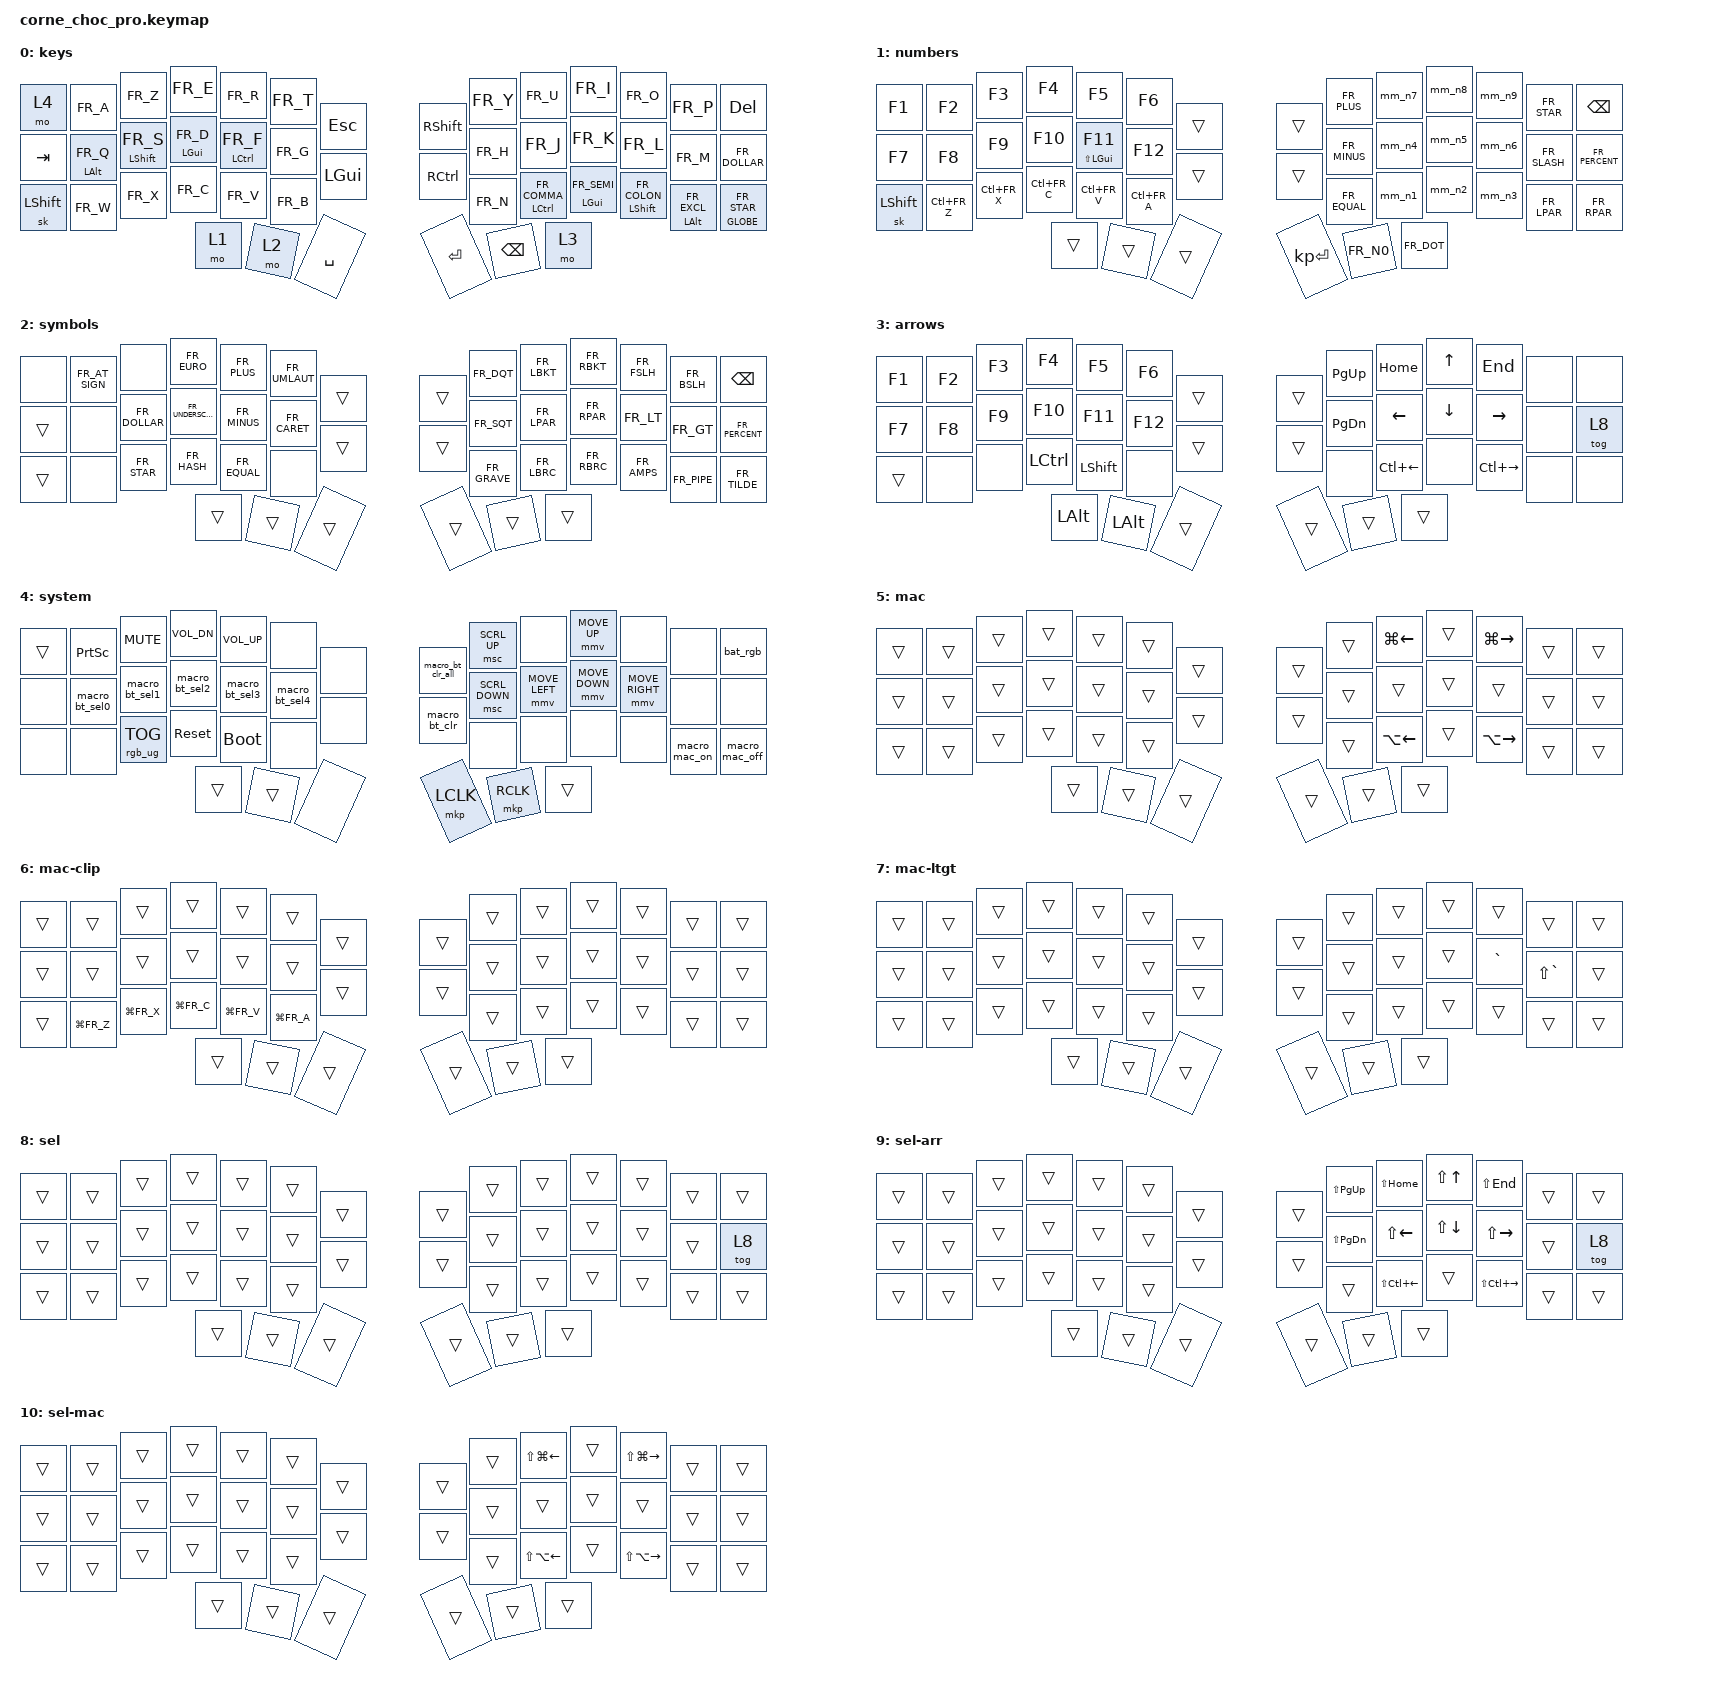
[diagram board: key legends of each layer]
/*
 * Copyright (c) 2020 The ZMK Contributors
 *
 * SPDX-License-Identifier: MIT
 */

#include "keys_fr.h"

#define ZMK_POINTING_DEFAULT_MOVE_VAL 1500
#define ZMK_POINTING_DEFAULT_SCRL_VAL 20

#define HUE_RED      0
#define HUE_YELLOW  60
#define HUE_GREEN  120
#define HUE_CYAN   200
#define HUE_BLUE   240
#define HUE_PURPLE 270
#define HUE_MAGENTA 300

#define MM_MODS (MOD_LGUI|MOD_RGUI|MOD_LALT|MOD_RALT|MOD_LCTL|MOD_RCTL)

#include <behaviors.dtsi>
#include <dt-bindings/zmk/bt.h>
#include <dt-bindings/zmk/keys.h>
#include <dt-bindings/zmk/pointing.h>
#include <dt-bindings/zmk/rgb.h>

&mt {
    flavor = "tap-preferred";
    tapping-term-ms = <190>;
    quick-tap-ms = <150>;
    require-prior-idle-ms = <150>;
};

/ {
    combos {
        compatible = "zmk,combos";

        combo_esc-with-gh {
            bindings = <&kp ESC>;
            key-positions = <19 22>;
            layers = <0 5 8 9 10>;
            timeout-ms = <80>;
            require-prior-idle-ms = <150>;
        };

        /* AZERTY accent combos — layers 0-4 (normal) + 5 (mac base) + 6 (mac symbols) */
        combo_e_grave {
            bindings = <&kp FR_E_GRAVE>;
            key-positions = <3 23>;
            layers = <0 1 2 3 4 5 6 8 9 10>;
            timeout-ms = <80>;
        };

        combo_e_aigu {
            bindings = <&kp FR_E_ACUTE>;
            key-positions = <3 25>;
            layers = <0 1 2 3 4 5 6 8 9 10>;
            timeout-ms = <80>;
        };

        combo_e_circonflex {
            bindings = <&macro_e_circonflex>;
            key-positions = <3 24>;
            layers = <0 1 2 3 4 5 6 8 9 10>;
            timeout-ms = <80>;
        };

        combo_a_grave {
            bindings = <&kp FR_A_GRAVE>;
            key-positions = <1 23>;
            layers = <0 1 2 3 4 5 6 8 9 10>;
            timeout-ms = <80>;
        };

        combo_a_circonflex {
            bindings = <&macro_a_circonflex>;
            key-positions = <1 24>;
            layers = <0 1 2 3 4 5 6 8 9 10>;
            timeout-ms = <80>;
        };

        combo_c_cedille {
            bindings = <&kp FR_C_CEDILLA>;
            key-positions = <31 24>;
            layers = <0 1 2 3 4 5 6 8 9 10>;
            timeout-ms = <80>;
        };

        combo_u_grave {
            bindings = <&kp FR_U_GRAVE>;
            key-positions = <9 18>;
            layers = <0 1 2 3 4 5 6 8 9 10>;
            timeout-ms = <80>;
        };

        /* AZERTY symbol combos — layers 0-6 */
        combo_left_parenthesis {
            bindings = <&kp FR_LEFT_PARENTHESIS>;
            key-positions = <18 17>;
            layers = <0 1 2 3 4 5 6 8 9 10>;
            require-prior-idle-ms = <150>;
        };

        combo_right_parenthesis {
            bindings = <&kp FR_RIGHT_PARENTHESIS>;
            key-positions = <23 24>;
            layers = <0 1 2 3 4 5 6 8 9 10>;
            require-prior-idle-ms = <150>;
        };

        combo_right_bracket {
            bindings = <&kp FR_RIGHT_BRACKET>;
            key-positions = <9 10>;
            layers = <0 1 2 3 4 5 6 8 9 10>;
            require-prior-idle-ms = <150>;
        };

        combo_left_bracket {
            bindings = <&kp FR_LEFT_BRACKET>;
            key-positions = <4 3>;
            layers = <0 1 2 3 4 5 6 8 9 10>;
            require-prior-idle-ms = <150>;
        };

        combo_left_brace {
            bindings = <&kp FR_LEFT_BRACE>;
            key-positions = <32 31>;
            layers = <0 1 2 3 4 5 6 8 9 10>;
            require-prior-idle-ms = <150>;
        };

        combo_right_brace {
            bindings = <&kp FR_RIGHT_BRACE>;
            key-positions = <35 36>;
            layers = <0 1 2 3 4 5 6 8 9 10>;
            require-prior-idle-ms = <150>;
        };

        /* Win/Linux AZERTY < > — only when mac_mode is OFF (highest layer ≤ 4) */
        combo_greater_than {
            bindings = <&kp FR_GREATER_THAN>;
            key-positions = <24 25>;
            layers = <0 1 2 3 4 8 9>;
            require-prior-idle-ms = <150>;
        };

        combo_less_than {
            bindings = <&kp FR_LESS_THAN>;
            key-positions = <17 16>;
            layers = <0 1 2 3 4 8 9>;
            require-prior-idle-ms = <150>;
        };

        /* macOS AZERTY < > — only when mac_mode is ON (layer 5 or 6 is highest) */
        combo_mac_less_than {
            bindings = <&kp GRAVE>;
            key-positions = <17 16>;
            layers = <5 6 10>;
            require-prior-idle-ms = <150>;
        };

        combo_mac_greater_than {
            bindings = <&kp LS(GRAVE)>;
            key-positions = <24 25>;
            layers = <5 6 10>;
            require-prior-idle-ms = <150>;
        };

        combo_backslash {
            bindings = <&kp FR_BACKSLASH>;
            key-positions = <10 11>;
            layers = <0 1 2 3 4 5 6 8 9 10>;
            require-prior-idle-ms = <150>;
        };

        combo_slash {
            bindings = <&kp FR_SLASH>;
            key-positions = <3 2>;
            layers = <0 1 2 3 4 5 6 8 9 10>;
            require-prior-idle-ms = <150>;
        };

        combo_question {
            bindings = <&kp FR_QUESTION>;
            key-positions = <16 35>;
            layers = <0 1 2 3 4 5 6 8 9 10>;
            require-prior-idle-ms = <150>;
        };
    };

    conditional_layers {
        compatible = "zmk,conditional-layers";
        sel_arrows_win {
            if-layers = <3 8>;
            then-layer = <9>;
        };
        sel_arrows_mac {
            if-layers = <3 5 8>;
            then-layer = <10>;
        };
        mac_numbers_overlay {
            if-layers = <1 5>;
            then-layer = <7>;
        };
        mac_symbols_overlay {
            if-layers = <2 5>;
            then-layer = <6>;
        };
    };

    behaviors {
        bat_rgb: bat_rgb {
            compatible = "zmk,behavior-bat-rgb";
            #binding-cells = <0>;
            /* must match the macro_bt_selN colors */
            profile-hues = <HUE_BLUE HUE_GREEN HUE_YELLOW HUE_MAGENTA HUE_CYAN>;
        };

        mode_rgb: mode_rgb {
            compatible = "zmk,behavior-mode-rgb";
            #binding-cells = <1>;
        };

        /* mod_morph for numbers 1–9 on the numbers layer.
           - Default tap: FR_Nx (LS-wrapped) → AZERTY digit, and LALT+FR_Nx → AeroSpace alt-shift-N ✓
           - With LGUI/RGUI held: plain Nx (no shift) → Hyprland SUPER+code:10–18 workspace switch ✓
           keep-mods preserves LGUI so it reaches the compositor. */
        mm_n1: mm_n1 { compatible = "zmk,behavior-mod-morph"; #binding-cells = <0>; bindings = <&kp FR_N1>, <&kp N1>; mods = <MM_MODS>; keep-mods = <MM_MODS>; };
        mm_n2: mm_n2 { compatible = "zmk,behavior-mod-morph"; #binding-cells = <0>; bindings = <&kp FR_N2>, <&kp N2>; mods = <MM_MODS>; keep-mods = <MM_MODS>; };
        mm_n3: mm_n3 { compatible = "zmk,behavior-mod-morph"; #binding-cells = <0>; bindings = <&kp FR_N3>, <&kp N3>; mods = <MM_MODS>; keep-mods = <MM_MODS>; };
        mm_n4: mm_n4 { compatible = "zmk,behavior-mod-morph"; #binding-cells = <0>; bindings = <&kp FR_N4>, <&kp N4>; mods = <MM_MODS>; keep-mods = <MM_MODS>; };
        mm_n5: mm_n5 { compatible = "zmk,behavior-mod-morph"; #binding-cells = <0>; bindings = <&kp FR_N5>, <&kp N5>; mods = <MM_MODS>; keep-mods = <MM_MODS>; };
        mm_n6: mm_n6 { compatible = "zmk,behavior-mod-morph"; #binding-cells = <0>; bindings = <&kp FR_N6>, <&kp N6>; mods = <MM_MODS>; keep-mods = <MM_MODS>; };
        mm_n7: mm_n7 { compatible = "zmk,behavior-mod-morph"; #binding-cells = <0>; bindings = <&kp FR_N7>, <&kp N7>; mods = <MM_MODS>; keep-mods = <MM_MODS>; };
        mm_n8: mm_n8 { compatible = "zmk,behavior-mod-morph"; #binding-cells = <0>; bindings = <&kp FR_N8>, <&kp N8>; mods = <MM_MODS>; keep-mods = <MM_MODS>; };
        mm_n9: mm_n9 { compatible = "zmk,behavior-mod-morph"; #binding-cells = <0>; bindings = <&kp FR_N9>, <&kp N9>; mods = <MM_MODS>; keep-mods = <MM_MODS>; };

    };

    macros {
        macro_e_circonflex: fr_e_circonflex {
            compatible = "zmk,behavior-macro";
            #binding-cells = <0>;
            bindings = <&kp FR_CARET &kp FR_E>;
        };

        macro_a_circonflex: fr_a_circonflex {
            compatible = "zmk,behavior-macro";
            #binding-cells = <0>;
            bindings = <&kp FR_CARET &kp FR_A>;
        };

        macro_mac_on: macro_mac_on {
            compatible = "zmk,behavior-macro";
            #binding-cells = <0>;
            bindings = <&mode_rgb HUE_RED>, <&to 5>;
        };

        macro_mac_off: macro_mac_off {
            compatible = "zmk,behavior-macro";
            #binding-cells = <0>;
            bindings = <&mode_rgb HUE_CYAN>, <&to 0>;
        };

        macro_bt_sel0: macro_bt_sel0 {
            compatible = "zmk,behavior-macro";
            #binding-cells = <0>;
            bindings = <&mode_rgb HUE_BLUE>, <&bt BT_SEL 0>;
        };

        macro_bt_sel1: macro_bt_sel1 {
            compatible = "zmk,behavior-macro";
            #binding-cells = <0>;
            bindings = <&mode_rgb HUE_GREEN>, <&bt BT_SEL 1>;
        };

        macro_bt_sel2: macro_bt_sel2 {
            compatible = "zmk,behavior-macro";
            #binding-cells = <0>;
            bindings = <&mode_rgb HUE_YELLOW>, <&bt BT_SEL 2>;
        };

        macro_bt_sel3: macro_bt_sel3 {
            compatible = "zmk,behavior-macro";
            #binding-cells = <0>;
            bindings = <&mode_rgb HUE_MAGENTA>, <&bt BT_SEL 3>;
        };

        macro_bt_sel4: macro_bt_sel4 {
            compatible = "zmk,behavior-macro";
            #binding-cells = <0>;
            bindings = <&mode_rgb HUE_CYAN>, <&bt BT_SEL 4>;
        };

        macro_bt_clr_all: macro_bt_clr_all {
            compatible = "zmk,behavior-macro";
            #binding-cells = <0>;
            bindings = <&mode_rgb HUE_RED>, <&bt BT_CLR_ALL>;
        };

        macro_bt_clr: macro_bt_clr {
            compatible = "zmk,behavior-macro";
            #binding-cells = <0>;
            bindings = <&mode_rgb HUE_RED>, <&bt BT_CLR>;
        };
    };

    keymap {
        compatible = "zmk,keymap";

        default_layer {
            display-name = "keys";
            bindings = <
&mo 4      &kp FR_A       &kp FR_Z         &kp FR_E       &kp FR_R        &kp FR_T   &kp ESC   &kp RSHIFT  &kp FR_Y  &kp FR_U            &kp FR_I          &kp FR_O             &kp FR_P          &kp DEL
&kp TAB    &mt LALT FR_Q  &mt LSHIFT FR_S  &mt LGUI FR_D  &mt LCTRL FR_F  &kp FR_G   &kp LGUI  &kp RCTRL   &kp FR_H  &kp FR_J            &kp FR_K          &kp FR_L             &kp FR_M          &kp FR_DOLLAR
&sk LSHFT  &kp FR_W       &kp FR_X         &kp FR_C       &kp FR_V        &kp FR_B                         &kp FR_N  &mt LCTRL FR_COMMA  &mt LGUI FR_SEMI  &mt LSHIFT FR_COLON  &mt LALT FR_EXCL  &mt GLOBE FR_STAR
                                           &mo 1          &mo 2           &kp SPACE                        &kp RET   &kp BSPC            &mo 3
            >;
        };

        numbers {
            display-name = "numbers";
            bindings = <
&kp F1  &kp F2  &kp F3  &kp F4   &kp F5            &kp F6   &trans  &trans  &kp FR_PLUS   &mm_n7          &mm_n8      &mm_n9     &kp FR_STAR   &kp BSPC
&kp F7  &kp F8  &kp F9  &kp F10  &mt LS(LGUI) F11  &kp F12  &trans  &trans  &kp FR_MINUS  &mm_n4          &mm_n5      &mm_n6     &kp FR_SLASH  &kp FR_PERCENT
&sk LSHIFT  &kp LC(FR_Z)  &kp LC(FR_X)  &kp LC(FR_C)   &kp LC(FR_V)   &kp LC(FR_A)     &kp FR_EQUAL  &mm_n1          &mm_n2      &mm_n3     &kp FR_LPAR   &kp FR_RPAR
                        &trans   &trans            &trans                   &kp KP_ENTER  &kp FR_N0       &kp FR_DOT
            >;
        };

        symbols {
            display-name = "symbols";
            bindings = <
&none   &kp FR_AT_SIGN  &none          &kp FR_EURO        &kp FR_PLUS   &kp FR_UMLAUT  &trans  &trans  &kp FR_DQT    &kp FR_LBKT  &kp FR_RBKT  &kp FR_FSLH  &kp FR_BSLH  &kp BSPC
&trans  &none           &kp FR_DOLLAR  &kp FR_UNDERSCORE  &kp FR_MINUS  &kp FR_CARET   &trans  &trans  &kp FR_SQT    &kp FR_LPAR  &kp FR_RPAR  &kp FR_LT    &kp FR_GT    &kp FR_PERCENT
&trans  &none           &kp FR_STAR    &kp FR_HASH        &kp FR_EQUAL  &none                          &kp FR_GRAVE  &kp FR_LBRC  &kp FR_RBRC  &kp FR_AMPS  &kp FR_PIPE  &kp FR_TILDE
                                       &trans             &trans        &trans                         &trans        &trans       &trans
            >;
        };

        arrows {
            display-name = "arrows";
            bindings = <
&kp F1  &kp F2  &kp F3  &kp F4            &kp F5          &kp F6   &trans  &trans  &kp PAGE_UP  &kp HOME  &kp UP    &kp END    &none  &none
&kp F7  &kp F8  &kp F9  &kp F10           &kp F11         &kp F12  &trans  &trans  &kp PG_DN    &kp LEFT  &kp DOWN  &kp RIGHT  &none  &tog 8
&trans  &none   &none   &kp LEFT_CONTROL  &kp LEFT_SHIFT  &none                    &none        &kp LC(LEFT)  &none  &kp LC(RIGHT)  &none  &none
                        &kp LALT          &kp LEFT_ALT    &trans                   &trans       &trans    &trans
            >;
        };

        system {
            display-name = "system";
            bindings = <
&trans  &kp PSCRN       &kp C_MUTE       &kp C_VOL_DN    &kp C_VOL_UP    &none           &none  &macro_bt_clr_all  &msc SCRL_UP    &none           &mmv MOVE_UP    &none            &none  &bat_rgb
&none   &macro_bt_sel0  &macro_bt_sel1   &macro_bt_sel2  &macro_bt_sel3  &macro_bt_sel4  &none  &macro_bt_clr      &msc SCRL_DOWN  &mmv MOVE_LEFT  &mmv MOVE_DOWN  &mmv MOVE_RIGHT  &none  &none
&none   &none         &rgb_ug RGB_TOG  &sys_reset    &bootloader   &none                     &none           &none           &none           &none            &macro_mac_on  &macro_mac_off
                                       &trans        &trans        &none                     &mkp LCLK       &mkp RCLK       &trans
            >;
        };

        mac_mode {
            /* macOS toggle overlay — transparent everywhere except navigation keys.
               Mac-specific number/symbol variants activate automatically via
               conditional_layers when layers 1+5 or 2+5 are both on. */
            display-name = "mac";
            bindings = <
&trans  &trans  &trans  &trans  &trans  &trans  &trans  &trans  &trans  &kp LG(LEFT)  &trans  &kp LG(RIGHT)  &trans  &trans
&trans  &trans  &trans  &trans  &trans  &trans  &trans  &trans  &trans  &trans        &trans  &trans         &trans  &trans
&trans  &trans  &trans  &trans  &trans  &trans                  &trans  &kp LA(LEFT)  &trans  &kp LA(RIGHT)  &trans  &trans
                        &trans  &trans  &trans                  &trans  &trans        &trans
            >;
        };

        mac_clipboard {
            /* macOS clipboard overrides — auto-activates via conditional_layers when
               numbers (1) + mac_mode (5) are both on. Only the clipboard row differs. */
            display-name = "mac-clip";
            bindings = <
&trans  &trans         &trans         &trans         &trans         &trans  &trans  &trans  &trans  &trans  &trans  &trans  &trans  &trans
&trans  &trans         &trans         &trans         &trans         &trans  &trans  &trans  &trans  &trans  &trans  &trans  &trans  &trans
&trans  &kp LG(FR_Z)  &kp LG(FR_X)  &kp LG(FR_C)  &kp LG(FR_V)  &kp LG(FR_A)            &trans  &trans  &trans  &trans  &trans  &trans
                                      &trans         &trans         &trans                  &trans  &trans  &trans
            >;
        };

        mac_lt_gt {
            /* macOS < > overrides — auto-activates via conditional_layers when
               symbols (2) + mac_mode (5) are both on. Only < and > differ. */
            display-name = "mac-ltgt";
            bindings = <
&trans  &trans  &trans  &trans  &trans  &trans  &trans  &trans  &trans  &trans  &trans  &trans          &trans        &trans
&trans  &trans  &trans  &trans  &trans  &trans  &trans  &trans  &trans  &trans  &trans  &kp GRAVE       &kp LS(GRAVE) &trans
&trans  &trans  &trans  &trans  &trans  &trans                  &trans  &trans  &trans  &trans          &trans        &trans
                        &trans  &trans  &trans                  &trans  &trans  &trans
            >;
        };

        sel_mode {
            /* Selection mode flag layer — toggled by position 27 in arrows layer.
               Transparent everywhere; its presence triggers conditional layers 9/10. */
            display-name = "sel";
            bindings = <
&trans  &trans  &trans  &trans  &trans  &trans  &trans  &trans  &trans  &trans  &trans  &trans  &trans  &trans
&trans  &trans  &trans  &trans  &trans  &trans  &trans  &trans  &trans  &trans  &trans  &trans  &trans  &tog 8
&trans  &trans  &trans  &trans  &trans  &trans                  &trans  &trans  &trans  &trans  &trans  &trans
                        &trans  &trans  &trans                  &trans  &trans  &trans
            >;
        };

        sel_arrows {
            /* Win/Linux selection arrows — auto-activates when layers 3+8 are both on. */
            display-name = "sel-arr";
            bindings = <
&trans  &trans  &trans  &trans  &trans  &trans  &trans  &trans  &kp LS(PAGE_UP)  &kp LS(HOME)       &kp LS(UP)    &kp LS(END)        &trans  &trans
&trans  &trans  &trans  &trans  &trans  &trans  &trans  &trans  &kp LS(PG_DN)    &kp LS(LEFT)       &kp LS(DOWN)  &kp LS(RIGHT)      &trans  &tog 8
&trans  &trans  &trans  &trans  &trans  &trans                  &trans            &kp LS(LC(LEFT))   &trans        &kp LS(LC(RIGHT))  &trans  &trans
                        &trans  &trans  &trans                  &trans            &trans             &trans
            >;
        };

        sel_arrows_mac {
            /* macOS selection overrides — auto-activates when layers 3+5+8 are all on.
               Overrides home/end and word-select from sel_arrows with Mac equivalents. */
            display-name = "sel-mac";
            bindings = <
&trans  &trans  &trans  &trans  &trans  &trans  &trans  &trans  &trans  &kp LS(LG(LEFT))  &trans  &kp LS(LG(RIGHT))  &trans  &trans
&trans  &trans  &trans  &trans  &trans  &trans  &trans  &trans  &trans  &trans             &trans  &trans             &trans  &trans
&trans  &trans  &trans  &trans  &trans  &trans                  &trans  &kp LS(LA(LEFT))   &trans  &kp LS(LA(RIGHT))  &trans  &trans
                        &trans  &trans  &trans                  &trans  &trans             &trans
            >;
        };
    };
};
